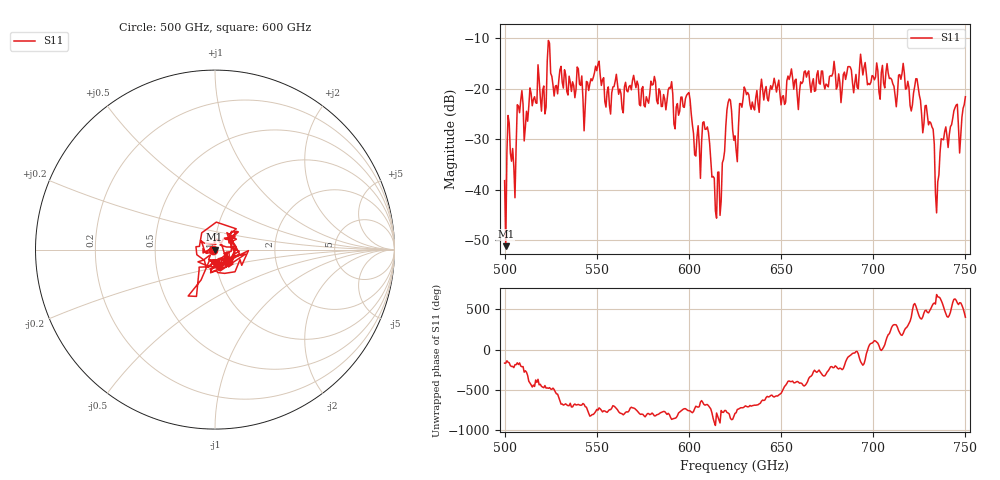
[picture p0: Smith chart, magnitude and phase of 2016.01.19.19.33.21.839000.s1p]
!Created with skrf (http://scikit-rf.org).
# GHz S RI R 50.0
!freq ReS11 ImS11
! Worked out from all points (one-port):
!   401 points, 500 GHz to 750 GHz, reference 50 ohm
!   lowest |S11| = -51.2 dB at 500.6 GHz (marker M1), VSWR 1.01, Z = 49.7 - j0.0566 ohm
!   |S11| at or under -10 dB: start of sweep to end of sweep
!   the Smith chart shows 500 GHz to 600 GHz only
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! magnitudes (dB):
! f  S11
! 500 GHz  -38.2
! 500.6 GHz  -51.2
! 502.5 GHz  -26.8
! 505 GHz  -35.4
! 508.1 GHz  -24.8
! 521.2 GHz  -19.5
! 524.4 GHz  -11.0
! 527.5 GHz  -19.6
! 531.2 GHz  -18.7
! 562.5 GHz  -20.1
! 580.6 GHz  -19.2
! 593.8 GHz  -23.0
! 599.4 GHz  -21.0
! 605 GHz  -27.4
! 609.4 GHz  -28.0
! 615.6 GHz  -36.5
! 618.1 GHz  -34.7
! 621.2 GHz  -22.8
! 625 GHz  -29.3
! 630.6 GHz  -20.3
! 656.2 GHz  -17.9
! 687.5 GHz  -15.7
! 718.8 GHz  -18.6
! 731.2 GHz  -26.8
! 735 GHz  -38.4
! 738.1 GHz  -30.1
! 747.5 GHz  -29.1
! 750 GHz  -21.6
